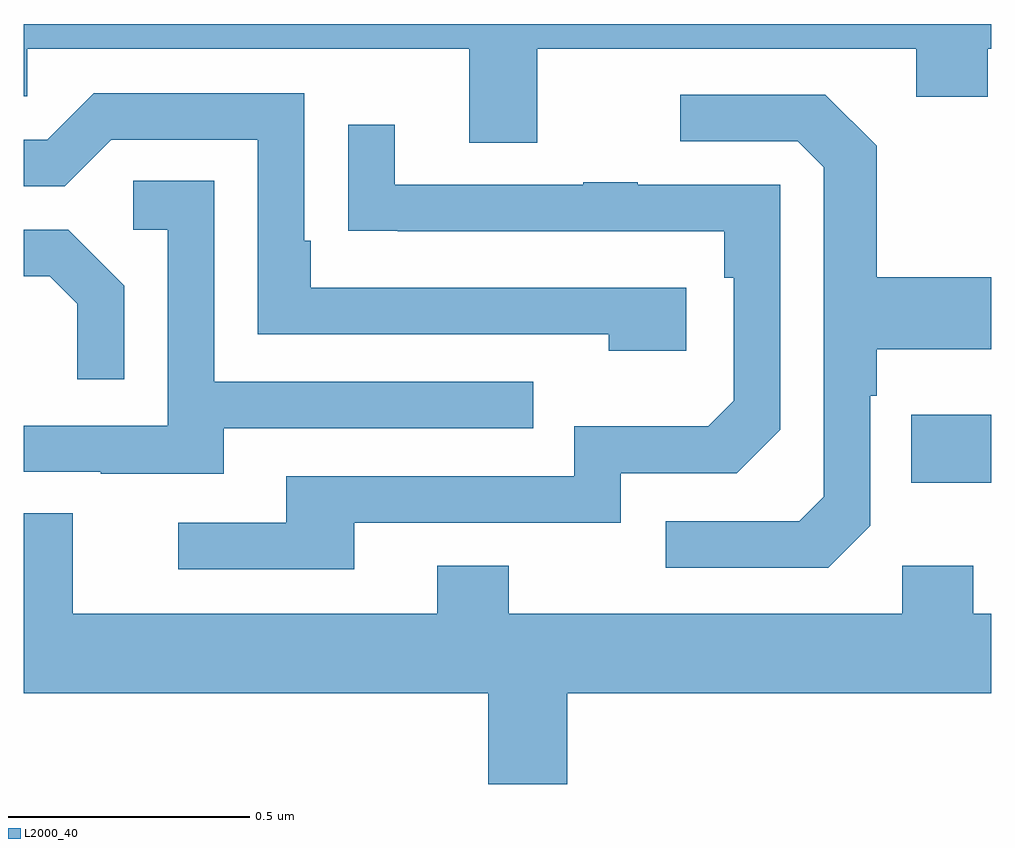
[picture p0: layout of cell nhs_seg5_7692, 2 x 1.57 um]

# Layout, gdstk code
import gdstk
lib = gdstk.Library(unit=1e-6, precision=1e-09)
def R(c, l, rs):  # rectangles x0, y0, x1, y1
    for r in rs: c.add(gdstk.rectangle(r[:2], r[2:], *l))
def P(c, l, *ps):  # polygons
    for p in ps: c.add(gdstk.Polygon(p, *l))
L2000_40 = (2000, 40)

nhs_seg5_7692 = lib.new_cell('nhs_seg5_7692')
R(nhs_seg5_7692, L2000_40, [(213.835,867.851,214,867.991)])
P(nhs_seg5_7692, L2000_40, [(213.061,868.748),(213.845,868.748),(213.845,868.649),(213.993,868.649),(213.993,868.748),(214,868.748),(214,868.799),(212,868.799),(212,868.65),(212.007,868.65),(212.007,868.748),(212.921,868.748),(212.921,868.554),(213.061,868.554)],
  [(213.37,868.254),(212.593,868.254),(212.593,868.351),(212.58,868.351),(212.58,868.656),(212.145,868.656),(212.049,868.56),(212,868.56),(212,868.464),(212.085,868.464),(212.181,868.56),(212.484,868.56),(212.484,868.158),(213.209,868.158),(213.209,868.124),(213.37,868.124)],
  [(213.75,867.762),(213.75,868.031),(213.763,868.031),(213.763,868.127),(214,868.127),(214,868.275),(213.763,868.275),(213.763,868.547),(213.657,868.653),(213.357,868.653),(213.357,868.557),(213.6,868.557),(213.654,868.503),(213.654,867.822),(213.603,867.771),(213.327,867.771),(213.327,867.675),(213.663,867.675)],
  [(212.683,867.768),(213.234,867.768),(213.234,867.87),(213.474,867.87),(213.564,867.96),(213.564,868.467),(213.269,868.467),(213.269,868.472),(213.157,868.472),(213.157,868.467),(212.767,868.467),(212.767,868.591),(212.671,868.591),(212.671,868.372),(212.773,868.372),(212.773,868.371),(213.448,868.371),(213.448,868.274),(213.468,868.274),(213.468,868.02),(213.415,867.967),(213.138,867.967),(213.138,867.864),(212.543,867.864),(212.543,867.768),(212.319,867.768),(212.319,867.672),(212.683,867.672)],
  [(212.413,867.963),(213.053,867.963),(213.053,868.059),(212.394,868.059),(212.394,868.475),(212.226,868.475),(212.226,868.374),(212.298,868.374),(212.298,867.969),(212,867.969),(212,867.873),(212.159,867.873),(212.159,867.869),(212.413,867.869)],
  [(212.208,868.258),(212.092,868.374),(212,868.374),(212,868.278),(212.054,868.278),(212.111,868.221),(212.111,868.065),(212.208,868.065)],
  [(213.124,867.416),(214,867.416),(214,867.58),(213.963,867.58),(213.963,867.679),(213.816,867.679),(213.816,867.58),(213.003,867.58),(213.003,867.679),(212.855,867.679),(212.855,867.58),(212.101,867.58),(212.101,867.788),(212,867.788),(212,867.416),(212.96,867.416),(212.96,867.228),(213.124,867.228)])

lib.write_gds('nhs_seg5_7692.gds')
